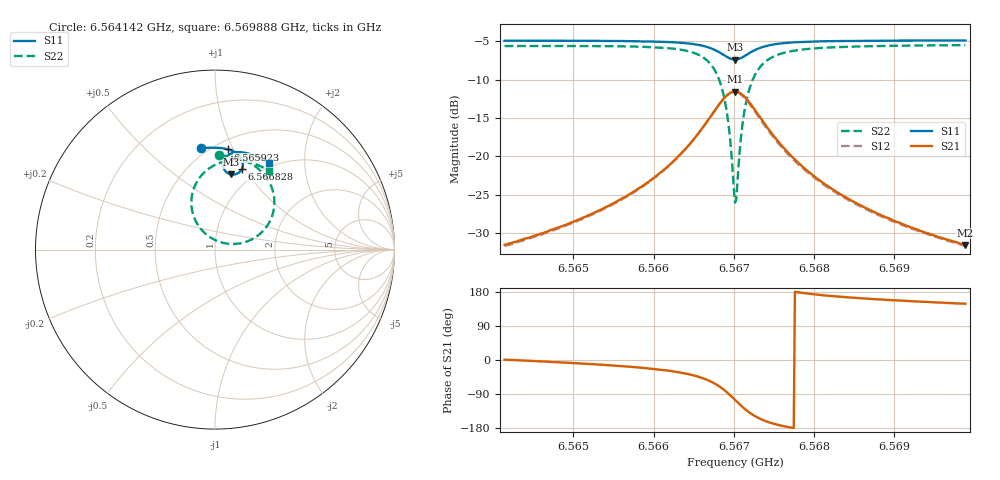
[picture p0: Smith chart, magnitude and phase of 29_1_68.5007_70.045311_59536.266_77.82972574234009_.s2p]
#  HZ  S  RI  R  50.00
! Rohde & Schwarz Vector Network Analyzer
! Rohde-Schwarz,ZNB20-2Port,1311601062101988,3.16
! Created: UTC 3/20/2024, 5:04:59 PM
! freq[Hz]  re:S11  im:S11  re:S21  im:S21  re:S12  im:S12  re:S22  im:S22
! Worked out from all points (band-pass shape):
!   401 points, 6.564142 GHz to 6.569888 GHz, reference 50 ohm
!   highest |S21| = -11.53 dB at 6.567015 GHz (marker M1); lowest = -31.6 dB at 6.569888 GHz (marker M2)
!   |S21| within 3 dB of the highest: 6.566728 GHz to 6.567303 GHz (574.5 kHz wide, 0.00875 % of centre)
!   lowest |S11| = -7.4 dB at 6.567015 GHz (marker M3), VSWR 2.50, Z = 40.6 + j41.6 ohm
!   |S11| at or under -10 dB: nowhere
!   |S22| runs from -26.0 to -5.5 dB; largest |S21 - S12| = 0.012
!   S11 on the Smith chart (normalised r, x): 6.564142 GHz: 0.46, +0.76; 6.565923 GHz: 0.58, +0.95; 6.566828 GHz: 0.84, +0.97; 6.569888 GHz: 0.93, +1.34
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6.5641424e9  -0.0793 0.5635  0.0265 0.000493  0.026 -7.17e-05  0.0196 0.5247
6.5651047e9  -0.00141 0.5679  0.0391 -0.00642  0.0383 -0.00692  0.1082 0.5138
6.5659234e9  0.0727 0.5581  0.0627 -0.0251  0.0618 -0.0259  0.2075 0.4745
6.566067e9  0.0874 0.5536  0.0697 -0.0327  0.0686 -0.0335  0.2301 0.4593
6.5663687e9  0.1209 0.5365  0.0889 -0.0611  0.0875 -0.0621  0.2856 0.4031
6.5665985e9  0.1469 0.5083  0.1029 -0.1099  0.1008 -0.1119  0.3265 0.3087
6.5667277e9  0.1557 0.48  0.0987 -0.1594  0.0949 -0.1622  0.3257 0.2142
6.5668283e9  0.1505 0.4505  0.0727 -0.21  0.0662 -0.2129  0.2807 0.1191
6.5669145e9  0.1299 0.4265  0.0206 -0.2494  0.011 -0.25  0.1863 0.0482
6.5669432e9  0.1193 0.4212  -0.00326 -0.2571  -0.0137 -0.2564  0.1431 0.0353
6.5670006e9  0.0949 0.4178  -0.0566 -0.2587  -0.0672 -0.2544  0.0487 0.0366
6.567015e9  0.0886 0.4188  -0.07 -0.2557  -0.0803 -0.2505  0.0253 0.0431
6.5670437e9  0.0766 0.4228  -0.0953 -0.2462  -0.105 -0.2389  -0.0183 0.0631
6.5671012e9  0.0573 0.4378  -0.137 -0.214  -0.1438 -0.2045  -0.0861 0.1242
6.5671443e9  0.0486 0.4526  -0.1571 -0.1842  -0.1613 -0.174  -0.1164 0.1791
6.5672017e9  0.0447 0.473  -0.1699 -0.1439  -0.1712 -0.1342  -0.1316 0.2506
6.5672735e9  0.0485 0.495  -0.1699 -0.101  -0.1687 -0.0929  -0.1231 0.3252
6.5675321e9  0.0876 0.5342  -0.1272 -0.0219  -0.1244 -0.0184  -0.0267 0.4566
6.5679773e9  0.1461 0.5422  -0.0757 0.00808  -0.0739 0.00926  0.0943 0.4968
6.5684513e9  0.1926 0.5336  -0.0504 0.0136  -0.0492 0.014  0.1691 0.4918
6.5689396e9  0.2331 0.5194  -0.0365 0.0145  -0.0357 0.0148  0.2236 0.4767
6.5698876e9  0.3018 0.4847  -0.0225 0.0138  -0.0221 0.0139  0.3031 0.4379
